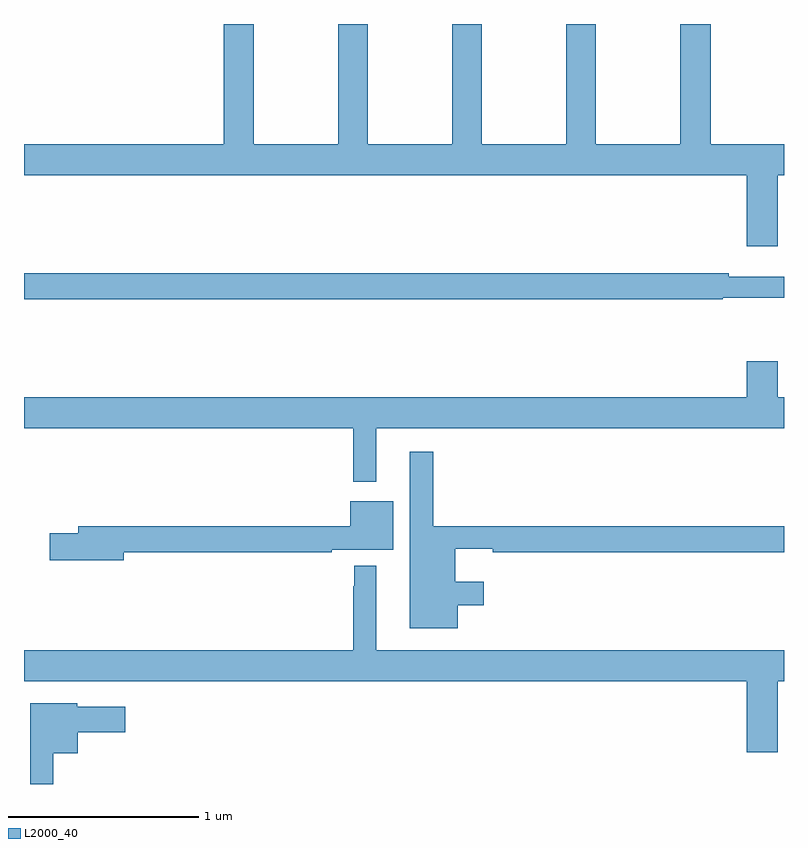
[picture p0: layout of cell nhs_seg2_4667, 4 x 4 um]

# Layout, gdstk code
import gdstk
lib = gdstk.Library(unit=1e-6, precision=1e-09)
def P(c, l, *ps):  # polygons
    for p in ps: c.add(gdstk.Polygon(p, *l))
L2000_40 = (2000, 40)

nhs_seg2_4667 = lib.new_cell('nhs_seg2_4667')
P(nhs_seg2_4667, L2000_40, [(368.968,613.004),(369,613.004),(369,613.168),(368.615,613.168),(368.615,613.8),(368.455,613.8),(368.455,613.168),(368.01,613.168),(368.01,613.8),(367.855,613.8),(367.855,613.168),(367.41,613.168),(367.41,613.8),(367.255,613.8),(367.255,613.168),(366.81,613.168),(366.81,613.8),(366.655,613.8),(366.655,613.168),(366.21,613.168),(366.21,613.8),(366.05,613.8),(366.05,613.168),(365,613.168),(365,613.004),(368.804,613.004),(368.804,612.63),(368.968,612.63)],
  [(368.678,612.36),(369,612.36),(369,612.469),(368.708,612.469),(368.708,612.488),(365,612.488),(365,612.352),(368.678,612.352)],
  [(366.853,611.672),(369,611.672),(369,611.836),(368.968,611.836),(368.968,612.025),(368.804,612.025),(368.804,611.836),(365,611.836),(365,611.672),(366.732,611.672),(366.732,611.391),(366.853,611.391)],
  [(367.282,610.742),(367.42,610.742),(367.42,610.864),(367.27,610.864),(367.27,611.039),(367.466,611.039),(367.466,611.02),(369,611.02),(369,611.156),(367.153,611.156),(367.153,611.548),(367.031,611.548),(367.031,610.619),(367.282,610.619)],
  [(365.524,611.02),(366.62,611.02),(366.62,611.033),(366.943,611.033),(366.943,611.287),(366.716,611.287),(366.716,611.156),(365.285,611.156),(365.285,611.12),(365.136,611.12),(365.136,610.978),(365.524,610.978)],
  [(368.968,610.34),(369,610.34),(369,610.504),(366.853,610.504),(366.853,610.948),(366.738,610.948),(366.738,610.841),(366.732,610.841),(366.732,610.504),(365,610.504),(365,610.34),(368.804,610.34),(368.804,609.966),(368.968,609.966)],
  [(365.155,609.962),(365.284,609.962),(365.284,610.073),(365.533,610.073),(365.533,610.207),(365.28,610.207),(365.28,610.225),(365.033,610.225),(365.033,609.8),(365.155,609.8)])

lib.write_gds('nhs_seg2_4667.gds')
